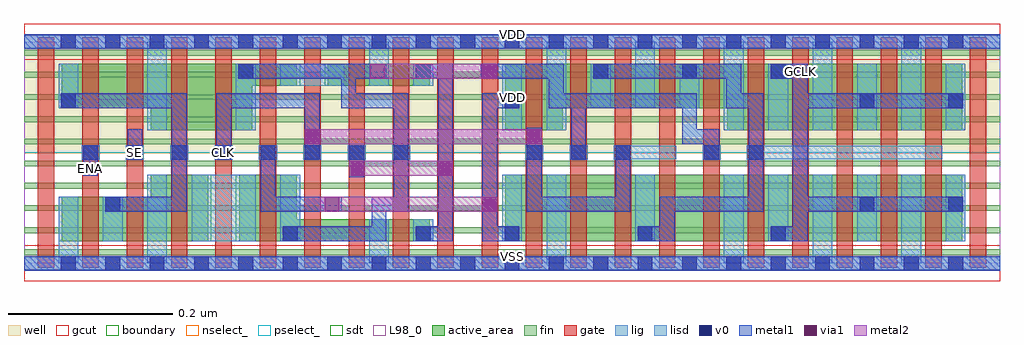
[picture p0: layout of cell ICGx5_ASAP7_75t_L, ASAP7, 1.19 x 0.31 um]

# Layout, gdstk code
import gdstk
lib = gdstk.Library(unit=1e-6, precision=2.5e-10)
def R(c, l, rs):  # rectangles x0, y0, x1, y1
    for r in rs: c.add(gdstk.rectangle(r[:2], r[2:], *l))
def A(c, l, x, y, w, h, nx, ny, dx, dy):  # array of equal rectangles
    R(c, l, [(x+i*dx, y+j*dy, x+i*dx+w, y+j*dy+h) for i in range(nx) for j in range(ny)])
def P(c, l, *ps):  # polygons
    for p in ps: c.add(gdstk.Polygon(p, *l))
well = (1, 0)
fin = (2, 0)
gate = (7, 0)
gcut = (10, 0)
active_area = (11, 0)
nselect_ = (12, 0)
pselect_ = (13, 0)
lig = (16, 0)
lisd = (17, 0)
v0 = (18, 0)
metal1 = (19, 0)
metal2 = (20, 0)
via1 = (21, 0)
sdt = (88, 0)
L98_0 = (98, 0)
boundary = (100, 0)

icgx5_asap7_75t_l = lib.new_cell('ICGx5_ASAP7_75t_L')
R(icgx5_asap7_75t_l, well, [(0,0.135,1.188,0.27)])
A(icgx5_asap7_75t_l, fin, 0, 0.01, 1.188, 0.007, 1, 10, 0, 0.027)
A(icgx5_asap7_75t_l, gate, 0.017, -0.005, 0.02, 0.28, 22, 1, 0.054, 0)
R(icgx5_asap7_75t_l, gcut, [(0,-0.022,1.188,0.022), (0,0.248,1.188,0.292)])
R(icgx5_asap7_75t_l, active_area, [(0.586,0.027,1.142,0.108), (0.37,0.216,0.494,0.243)])
P(icgx5_asap7_75t_l, active_area, [(0.046,0.027),(0.046,0.081),(0.154,0.081),(0.154,0.108),(0.224,0.108),(0.224,0.027)],
  [(0.262,0.027),(0.262,0.108),(0.332,0.108),(0.332,0.054),(0.494,0.054),(0.494,0.027)],
  [(0.154,0.162),(0.154,0.189),(0.046,0.189),(0.046,0.243),(0.332,0.243),(0.332,0.216),(0.278,0.216),(0.278,0.162)],
  [(0.586,0.162),(0.586,0.243),(1.142,0.243),(1.142,0.162),(0.856,0.162),(0.856,0.189),(0.656,0.189),(0.656,0.162)])
R(icgx5_asap7_75t_l, nselect_, [(0,0,1.188,0.135)])
R(icgx5_asap7_75t_l, pselect_, [(0,0.135,1.188,0.27)])
A(icgx5_asap7_75t_l, lig, 0.07, 0.126, 0.022, 0.018, 8, 1, 0.054, 0)
A(icgx5_asap7_75t_l, lig, 0.61, 0.126, 0.022, 0.018, 3, 1, 0.054, 0)
R(icgx5_asap7_75t_l, lig, [(0,-0.008,1.188,0.008), (0.826,0.126,0.848,0.144), (0.88,0.126,0.902,0.144), (0.718,0.127,0.794,0.143), (0.88,0.127,1.118,0.143), (0,0.262,1.188,0.278)])
A(icgx5_asap7_75t_l, lisd, 0.582, 0.027, 0.024, 0.081, 3, 1, 0.162, 0)
A(icgx5_asap7_75t_l, lisd, 0.258, 0.162, 0.024, 0.081, 3, 1, 0.324, 0)
R(icgx5_asap7_75t_l, lisd, [(0.042,0,0.066,0.081), (0.042,0,0.066,0.081), (0.15,0,0.174,0.108), (0.15,0,0.174,0.108), (0.42,0,0.444,0.054), (0.636,0,0.66,0.108), (0.636,0,0.66,0.108), (0.852,0,0.876,0.108), (0.852,0,0.876,0.108), (0.96,0,0.984,0.108), (0.96,0,0.984,0.108), (1.068,0,1.092,0.108), (1.068,0,1.092,0.108), (0.096,0.027,0.12,0.081), (0.204,0.027,0.282,0.108), (0.312,0.027,0.336,0.108), (0.474,0.027,0.498,0.054), (1.014,0.027,1.038,0.108), (1.122,0.027,1.146,0.108), (0.15,0.162,0.174,0.27), (0.15,0.162,0.174,0.27), (0.636,0.162,0.66,0.27), (0.636,0.162,0.66,0.27), (0.852,0.162,0.876,0.27), (0.852,0.162,0.876,0.27), (0.96,0.162,0.984,0.27), (0.96,0.162,0.984,0.27), (1.014,0.162,1.038,0.243), (1.068,0.162,1.092,0.27), (1.068,0.162,1.092,0.27), (1.122,0.162,1.146,0.243), (0.042,0.189,0.066,0.243), (0.69,0.189,0.714,0.243), (0.744,0.189,0.768,0.27), (0.744,0.189,0.768,0.27), (0.798,0.189,0.822,0.243), (0.312,0.216,0.39,0.243), (0.42,0.216,0.444,0.27), (0.474,0.216,0.498,0.243)])
A(icgx5_asap7_75t_l, v0, 0.045, -0.009, 0.018, 0.018, 21, 2, 0.054, 0.27)
A(icgx5_asap7_75t_l, v0, 0.585, 0.027, 0.018, 0.018, 3, 1, 0.162, 0)
A(icgx5_asap7_75t_l, v0, 0.072, 0.126, 0.018, 0.018, 8, 1, 0.054, 0)
A(icgx5_asap7_75t_l, v0, 0.612, 0.126, 0.018, 0.018, 3, 1, 0.054, 0)
A(icgx5_asap7_75t_l, v0, 0.261, 0.225, 0.018, 0.018, 3, 1, 0.216, 0)
R(icgx5_asap7_75t_l, v0, [(0.315,0.027,0.333,0.045), (0.477,0.027,0.495,0.045), (0.099,0.063,0.117,0.081), (1.017,0.063,1.035,0.081), (1.125,0.063,1.143,0.081), (0.828,0.126,0.846,0.144), (0.882,0.126,0.9,0.144), (0.045,0.189,0.063,0.207), (0.585,0.189,0.603,0.207), (1.017,0.189,1.035,0.207), (1.125,0.189,1.143,0.207), (0.801,0.225,0.819,0.243), (0.909,0.225,0.927,0.243)])
A(icgx5_asap7_75t_l, metal1, 0.585, 0.027, 0.018, 0.018, 3, 1, 0.162, 0)
A(icgx5_asap7_75t_l, metal1, 0.072, 0.126, 0.018, 0.018, 8, 1, 0.054, 0)
A(icgx5_asap7_75t_l, metal1, 0.612, 0.126, 0.018, 0.018, 3, 1, 0.054, 0)
A(icgx5_asap7_75t_l, metal1, 0.693, 0.225, 0.018, 0.018, 3, 1, 0.108, 0)
R(icgx5_asap7_75t_l, metal1, [(0,-0.009,1.188,0.009), (0.315,0.027,0.333,0.045), (0.477,0.027,0.495,0.045), (0.099,0.063,0.117,0.081), (0.369,0.063,0.387,0.081), (0.558,0.063,0.576,0.081), (1.017,0.063,1.035,0.081), (1.125,0.063,1.143,0.081), (0.396,0.105,0.414,0.125), (0.072,0.107,0.09,0.144), (0.396,0.107,0.414,0.144), (0.504,0.107,0.522,0.125), (0.126,0.126,0.144,0.163), (0.828,0.126,0.846,0.144), (0.882,0.126,0.9,0.144), (0.342,0.145,0.36,0.163), (0.612,0.145,0.63,0.165), (0.045,0.189,0.063,0.207), (0.585,0.189,0.603,0.207), (1.017,0.189,1.035,0.207), (1.125,0.189,1.143,0.207), (0.261,0.225,0.279,0.243), (0.423,0.225,0.441,0.243), (0.477,0.225,0.495,0.243), (0.556,0.225,0.578,0.243), (0,0.261,1.188,0.279)])
P(icgx5_asap7_75t_l, metal1, [(0.315,0.027),(0.315,0.045),(0.423,0.045),(0.423,0.081),(0.45,0.081),(0.45,0.189),(0.386,0.189),(0.386,0.225),(0.261,0.225),(0.261,0.243),(0.441,0.243),(0.441,0.225),(0.404,0.225),(0.404,0.207),(0.468,0.207),(0.468,0.063),(0.441,0.063),(0.441,0.027)],
  [(0.099,0.063),(0.099,0.081),(0.18,0.081),(0.18,0.189),(0.045,0.189),(0.045,0.207),(0.198,0.207),(0.198,0.063)],
  [(0.234,0.126),(0.234,0.207),(0.36,0.207),(0.36,0.126),(0.342,0.126),(0.342,0.189),(0.252,0.189),(0.252,0.126)],
  [(0.612,0.063),(0.612,0.163),(0.63,0.163),(0.63,0.081),(0.72,0.081),(0.72,0.144),(0.738,0.144),(0.738,0.063)],
  [(0.666,0.126),(0.666,0.189),(0.639,0.189),(0.639,0.225),(0.558,0.225),(0.558,0.243),(0.657,0.243),(0.657,0.207),(0.819,0.207),(0.819,0.163),(0.846,0.163),(0.846,0.126),(0.828,0.126),(0.828,0.145),(0.801,0.145),(0.801,0.189),(0.684,0.189),(0.684,0.126)],
  [(0.558,0.027),(0.558,0.207),(0.603,0.207),(0.603,0.189),(0.576,0.189),(0.576,0.045),(0.603,0.045),(0.603,0.027)],
  [(0.288,0.063),(0.288,0.144),(0.306,0.144),(0.306,0.081),(0.387,0.081),(0.387,0.063)],
  [(0.477,0.027),(0.477,0.045),(0.504,0.045),(0.504,0.225),(0.477,0.225),(0.477,0.243),(0.522,0.243),(0.522,0.027)],
  [(0.747,0.027),(0.747,0.045),(0.774,0.045),(0.774,0.081),(0.882,0.081),(0.882,0.189),(0.855,0.189),(0.855,0.225),(0.693,0.225),(0.693,0.243),(0.873,0.243),(0.873,0.207),(0.9,0.207),(0.9,0.063),(0.792,0.063),(0.792,0.027)],
  [(0.909,0.027),(0.909,0.045),(0.936,0.045),(0.936,0.225),(0.909,0.225),(0.909,0.243),(0.954,0.243),(0.954,0.207),(1.143,0.207),(1.143,0.189),(0.954,0.189),(0.954,0.081),(1.143,0.081),(1.143,0.063),(0.954,0.063),(0.954,0.027)])
R(icgx5_asap7_75t_l, metal2, [(0.36,0.063,0.576,0.081), (0.396,0.107,0.522,0.125), (0.342,0.145,0.63,0.163), (0.421,0.225,0.576,0.243)])
R(icgx5_asap7_75t_l, via1, [(0.366,0.063,0.384,0.081), (0.558,0.063,0.576,0.081), (0.396,0.107,0.414,0.125), (0.504,0.107,0.522,0.125), (0.342,0.145,0.36,0.163), (0.612,0.145,0.63,0.163), (0.421,0.225,0.439,0.243), (0.558,0.225,0.576,0.243)])
A(icgx5_asap7_75t_l, sdt, 0.15, 0.027, 0.024, 0.081, 4, 1, 0.054, 0)
A(icgx5_asap7_75t_l, sdt, 0.636, 0.027, 0.024, 0.081, 3, 1, 0.108, 0)
A(icgx5_asap7_75t_l, sdt, 0.852, 0.027, 0.024, 0.081, 3, 2, 0.054, 0.135)
A(icgx5_asap7_75t_l, sdt, 0.96, 0.027, 0.024, 0.081, 3, 2, 0.054, 0.135)
A(icgx5_asap7_75t_l, sdt, 0.312, 0.216, 0.024, 0.027, 4, 1, 0.054, 0)
R(icgx5_asap7_75t_l, sdt, [(0.042,0.027,0.066,0.081), (0.042,0.027,0.066,0.081), (0.096,0.027,0.12,0.081), (0.15,0.027,0.174,0.108), (0.42,0.027,0.444,0.054), (0.474,0.027,0.498,0.054), (0.582,0.027,0.606,0.108), (0.636,0.027,0.66,0.108), (1.068,0.027,1.092,0.108), (1.122,0.027,1.146,0.108), (0.15,0.162,0.174,0.243), (0.15,0.162,0.174,0.243), (0.258,0.162,0.282,0.243), (0.582,0.162,0.606,0.243), (0.636,0.162,0.66,0.243), (0.636,0.162,0.66,0.243), (0.852,0.162,0.876,0.243), (1.068,0.162,1.092,0.243), (1.122,0.162,1.146,0.243), (0.042,0.189,0.066,0.243), (0.69,0.189,0.714,0.243), (0.744,0.189,0.768,0.243), (0.744,0.189,0.768,0.243), (0.798,0.189,0.822,0.243)])
R(icgx5_asap7_75t_l, L98_0, [(0,0,1.188,0.27)])
R(icgx5_asap7_75t_l, boundary, [(0,0,1.188,0.27)])
icgx5_asap7_75t_l.add(gdstk.Label('VDD', (0.594,0.2025), layer=1, texttype=251))
icgx5_asap7_75t_l.add(gdstk.Label('VSS', (0.594,-0.0675), layer=3, texttype=251))
icgx5_asap7_75t_l.add(gdstk.Label('VSS', (0.594,0.009), layer=19, texttype=251))
icgx5_asap7_75t_l.add(gdstk.Label('VDD', (0.594,0.279), layer=19, texttype=251))
icgx5_asap7_75t_l.add(gdstk.Label('ENA', (0.081,0.116), layer=19, texttype=251))
icgx5_asap7_75t_l.add(gdstk.Label('SE', (0.135,0.135), layer=19, texttype=251))
icgx5_asap7_75t_l.add(gdstk.Label('CLK', (0.243,0.135), layer=19, texttype=251))
icgx5_asap7_75t_l.add(gdstk.Label('GCLK', (0.945,0.234), layer=19, texttype=251))

lib.write_gds('ICGx5_ASAP7_75t_L.gds')
